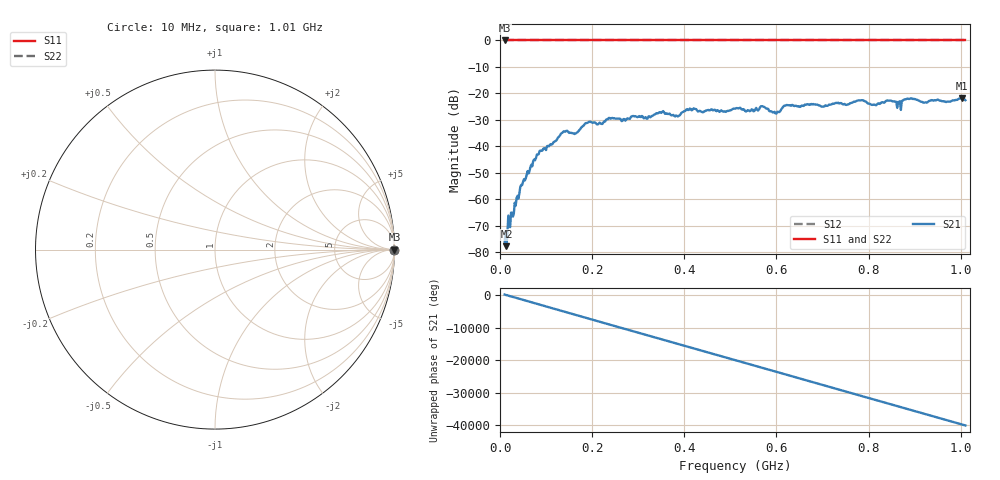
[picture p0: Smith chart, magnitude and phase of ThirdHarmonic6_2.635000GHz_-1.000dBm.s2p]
! 8/17/2025 5:55:09 AM
! C:\ANRITSUVNA\TEMP\TEMP.S2P
! CHANNEL.1
! TR.MEASUREMENT
! RAW.DATA
! RF.CORRECTION.OFF
! AVERAGING.OFF
! IF.BANDWIDTH: 5KHZ
! SWEEPTYPE:  FREQ.SWEEP(Linear)
! Reference Plane Port Info
! PORT:  PORT1  PORT2
! DISTANCE:  0  m  0  m
! TIME:  0  s  0  s
! PHASE.OFFSET:  0  deg.  0  deg.
! LOSS:  0  dB  0  dB
! REF.LOSS:  0  dB  0  dB
! REF.FREQ:  0  Hz  0  Hz
! Power Info
! POWER:  -20  dBm  -20  dBm
! EFF.POWER:  -20  dBm  -20  dBm
! SOURCE.ATTEN:  0  dB  0  dB
! TEST.ATTEN:  0  dB  0  dB
# GHZ S RI R 50.0
! FREQ.GHZ  S11RE  S11IM  S21RE  S21IM  S12RE  S12IM  S22RE  S22IM
!; PortSelection: Port_12
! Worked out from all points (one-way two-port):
!   501 points, 10 MHz to 1.01 GHz, reference 50 ohm
!   highest |S21| = -21.82 dB at 1.002 GHz (marker M1); lowest = -77.8 dB at 14 MHz (marker M2)
!   lowest |S11| = 0.0 dB at 10 MHz (marker M3)
!   |S11| at or under -10 dB: nowhere
!   |S22| runs from 0.0 to 0.0 dB; largest |S21 - S12| = 1.1
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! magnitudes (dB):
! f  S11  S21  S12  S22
! 10 MHz  0.0  -76.7  0.0  0.0
! 14 MHz  0.0  -77.8  0.0  0.0
! 22 MHz  0.0  -70.6  0.0  0.0
! 26 MHz  0.0  -65.1  0.0  0.0
! 48 MHz  0.0  -54.8  0.0  0.0
! 84 MHz  0.0  -43.0  0.0  0.0
! 136 MHz  0.0  -34.8  0.0  0.0
! 164 MHz  0.0  -35.2  0.0  0.0
! 178 MHz  0.0  -32.7  0.0  0.0
! 344 MHz  0.0  -27.4  0.0  0.0
! 384 MHz  0.0  -28.6  0.0  0.0
! 410 MHz  0.0  -26.2  0.0  0.0
! 510 MHz  0.0  -25.8  0.0  0.0
! 570 MHz  0.0  -24.9  0.0  0.0
! 596 MHz  0.0  -27.0  0.0  0.0
! 620 MHz  0.0  -24.6  0.0  0.0
! 678 MHz  0.0  -24.2  0.0  0.0
! 844 MHz  0.0  -22.8  0.0  0.0
! 866 MHz  0.0  -23.3  0.0  0.0
! 888 MHz  0.0  -22.1  0.0  0.0
! 1.002 GHz  0.0  -21.8  0.0  0.0
! 1.01 GHz  0.0  -22.6  0.0  0.0
